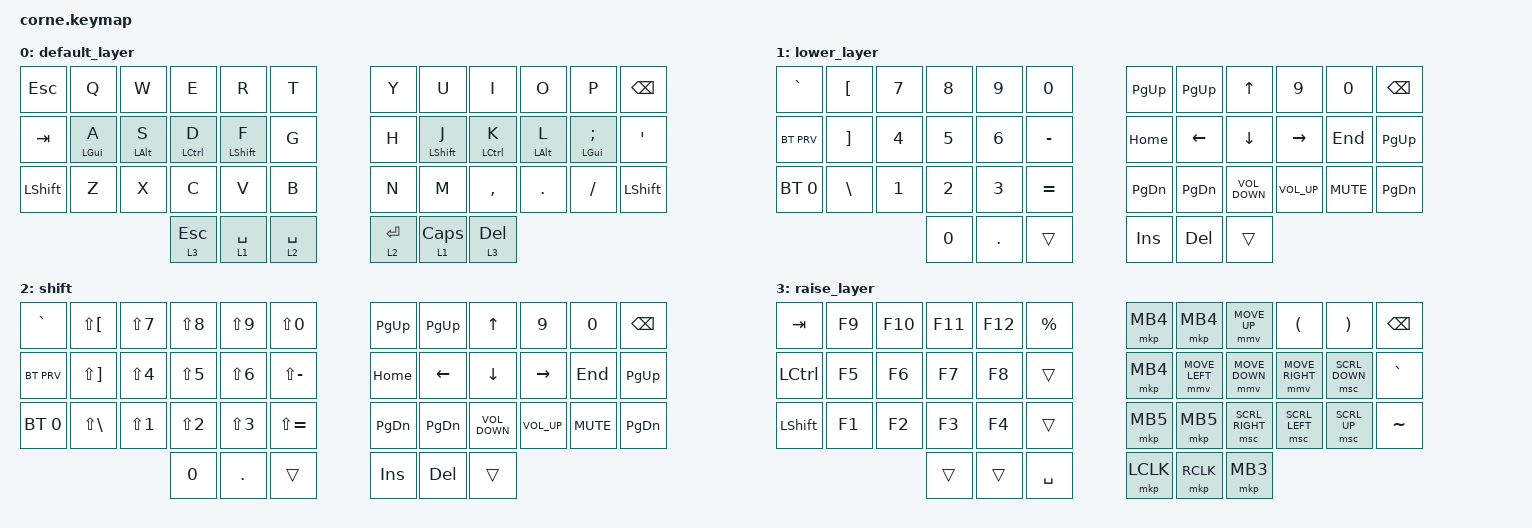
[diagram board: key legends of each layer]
/*
 * Copyright (c) 2020 The ZMK Contributors
 *
 * SPDX-License-Identifier: MIT
 */

#include <behaviors.dtsi>
#include <dt-bindings/zmk/bt.h>
#include <dt-bindings/zmk/keys.h>
#include <dt-bindings/zmk/pointing.h>

&led_strip {
    chain-length = <27>;

    // 21 backlight + 6 glowlight
};

&msc {
    acceleration-exponent = <1>;      // 0
    time-to-max-speed-ms = <100>;       // 300
    delay-ms = <0>;                   // 0
};

&mt {
    /* Shorter tapping term so mod-taps hit hold a bit sooner. */
    tapping-term-ms = <180>;
    flavor = "tap-preferred";
    // quick-tap-ms = <170>; // keep default quick tap window
};

&mmv {
    /* Faster cursor by sending moves twice as often with gentle acceleration. */
    acceleration-exponent = <1>;
    time-to-max-speed-ms = <500>;
    trigger-period-ms = <16>;
};

/ {
    keymap {
        compatible = "zmk,keymap";

        default_layer {
            // -----------------------------------------------------------------------------------------
            // |  TAB |  Q  |  W  |  E  |  R  |  T  |   |  Y  |  U   |  I  |  O  |  P  | BKSP |
            // | CTRL |  A  |  S  |  D  |  F  |  G  |   |  H  |  J   |  K  |  L  |  ;  |  '   |
            // | SHFT |  Z  |  X  |  C  |  V  |  B  |   |  N  |  M   |  ,  |  .  |  /  | ESC  |
            //                    | GUI | LWR | SPC |   | ENT | RSE  | ALT |

            bindings = <
&kp ESC    &kp Q       &kp W       &kp E        &kp R        &kp T          &kp Y        &kp U        &kp I         &kp O       &kp P          &kp BSPC
&kp TAB    &mt LGUI A  &mt LALT S  &mt LCTRL D  &mt LSHFT F  &kp G          &kp H        &mt LSHFT J  &mt LCTRL K   &mt LALT L  &mt LGUI SEMI  &kp SQT
&kp LSHFT  &kp Z       &kp X       &kp C        &kp V        &kp B          &kp N        &kp M        &kp COMMA     &kp DOT     &kp FSLH       &kp LSHFT
                                   &lt 3 ESC    &lt 1 SPACE  &lt 2 SPACE    &lt 2 ENTER  &lt 1 CAPS   &lt 3 DELETE
            >;
        };

        lower_layer {
            // -----------------------------------------------------------------------------------------
            // |  TAB |  1  |  2  |  3  |  4  |  5  |   |  6  |  7  |  8  |  9  |  0  | BKSP |
            // | BTCLR| BT1 | BT2 | BT3 | BT4 | BT5 |   | LFT | DWN |  UP | RGT |     |      |
            // | SHFT |     |     |     |     |     |   |     |     |     |     |     |      |
            //                    | GUI |     | SPC |   | ENT |     | ALT |

            bindings = <
&kp GRAVE     &kp LEFT_BRACKET   &kp NUMBER_7  &kp NUMBER_8  &kp NUMBER_9  &kp NUMBER_0    &kp PG_UP      &kp PG_UP       &kp UP_ARROW       &kp N9           &kp N0      &kp BSPC
&bt BT_PRV    &kp RIGHT_BRACKET  &kp NUMBER_4  &kp NUMBER_5  &kp NUMBER_6  &kp MINUS       &kp HOME       &kp LEFT_ARROW  &kp DOWN_ARROW     &kp RIGHT_ARROW  &kp END     &kp PG_UP
&bt BT_SEL 0  &kp BACKSLASH      &kp NUMBER_1  &kp NUMBER_2  &kp NUMBER_3  &kp EQUAL       &kp PAGE_DOWN  &kp PAGE_DOWN   &kp C_VOLUME_DOWN  &kp C_VOLUME_UP  &kp K_MUTE  &kp PG_DN
                                               &kp NUMBER_0  &kp PERIOD    &trans          &kp INSERT     &kp DELETE      &trans
            >;
        };

        shift {
            bindings = <
&kp GRAVE     &kp LS(LEFT_BRACKET)  &kp LS(NUMBER_7)  &kp LS(NUMBER_8)  &kp LS(NUMBER_9)  &kp LS(NUMBER_0)    &kp PG_UP      &kp PG_UP       &kp UP_ARROW       &kp N9           &kp N0      &kp BSPC
&bt BT_PRV    &kp LS(RBKT)          &kp LS(NUMBER_4)  &kp LS(NUMBER_5)  &kp LS(NUMBER_6)  &kp LS(MINUS)       &kp HOME       &kp LEFT_ARROW  &kp DOWN_ARROW     &kp RIGHT_ARROW  &kp END     &kp PG_UP
&bt BT_SEL 0  &kp LS(BACKSLASH)     &kp LS(NUMBER_1)  &kp LS(NUMBER_2)  &kp LS(NUMBER_3)  &kp LS(EQUAL)       &kp PAGE_DOWN  &kp PAGE_DOWN   &kp C_VOLUME_DOWN  &kp C_VOLUME_UP  &kp K_MUTE  &kp PG_DN
                                                      &kp NUMBER_0      &kp PERIOD        &trans              &kp INSERT     &kp DELETE      &trans
            >;
        };

        raise_layer {
            // -----------------------------------------------------------------------------------------
            // |  TAB |  !  |  @  |  #  |  $  |  %  |   |  ^  |  &  |  *  |  (  |  )  | BKSP |
            // | CTRL |     |     |     |     |     |   |  -  |  =  |  [  |  ]  |  \  |  `   |
            // | SHFT |     |     |     |     |     |   |  _  |  +  |  {  |  }  | "|" |  ~   |
            //                    | GUI |     | SPC |   | ENT |     | ALT |

            bindings = <
&kp TAB    &kp F9  &kp F10  &kp F11  &kp F12  &kp PRCNT    &mkp MB4   &mkp MB4        &mmv MOVE_UP     &kp LPAR         &kp RPAR        &kp BSPC
&kp LCTRL  &kp F5  &kp F6   &kp F7   &kp F8   &trans       &mkp MB4   &mmv MOVE_LEFT  &mmv MOVE_DOWN   &mmv MOVE_RIGHT  &msc SCRL_DOWN  &kp GRAVE
&kp LSHFT  &kp F1  &kp F2   &kp F3   &kp F4   &trans       &mkp MB5   &mkp MB5        &msc SCRL_RIGHT  &msc SCRL_LEFT   &msc SCRL_UP    &kp TILDE
                            &trans   &trans   &kp SPACE    &mkp LCLK  &mkp RCLK       &mkp MB3
            >;
        };
    };
};
